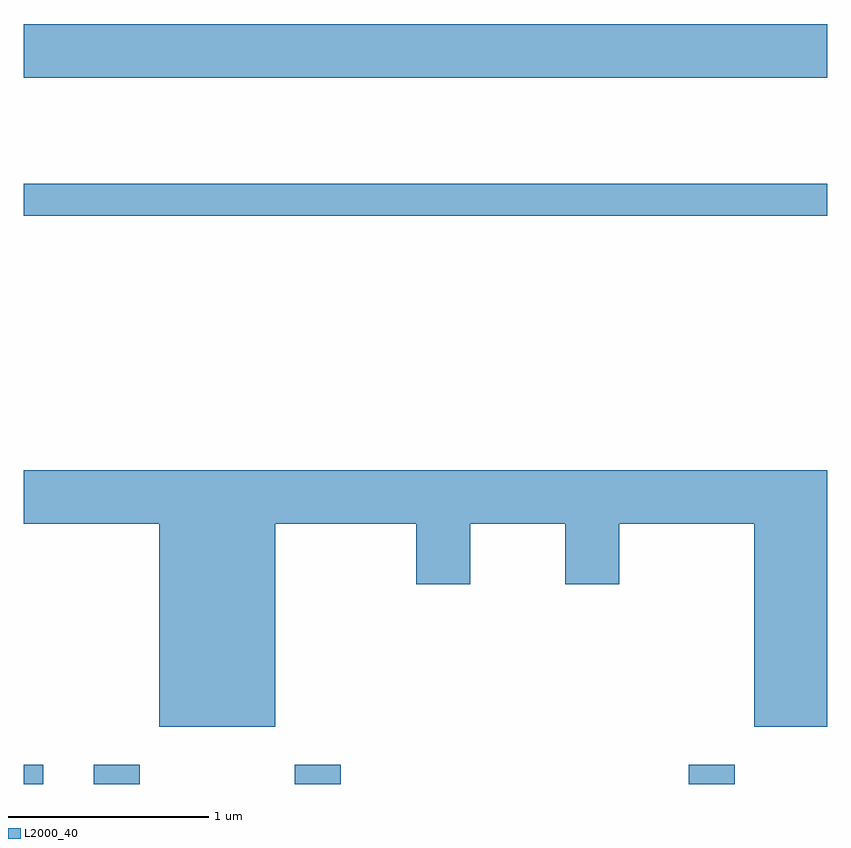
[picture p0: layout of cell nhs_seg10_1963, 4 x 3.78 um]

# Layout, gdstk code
import gdstk
lib = gdstk.Library(unit=1e-6, precision=1e-09)
def R(c, l, rs):  # rectangles x0, y0, x1, y1
    for r in rs: c.add(gdstk.rectangle(r[:2], r[2:], *l))
def P(c, l, *ps):  # polygons
    for p in ps: c.add(gdstk.Polygon(p, *l))
L2000_40 = (2000, 40)

nhs_seg10_1963 = lib.new_cell('nhs_seg10_1963')
R(nhs_seg10_1963, L2000_40, [(241.611,2212.522,241.709,2212.619), (241.961,2212.522,242.189,2212.619), (242.961,2212.522,243.189,2212.619), (244.921,2212.522,245.149,2212.619), (241.611,2215.351,245.611,2215.509), (241.611,2216.036,245.611,2216.304)])
P(nhs_seg10_1963, L2000_40, [(241.611,2213.816),(242.286,2213.816),(242.286,2212.806),(242.864,2212.806),(242.864,2213.816),(243.566,2213.816),(243.566,2213.516),(243.834,2213.516),(243.834,2213.816),(244.306,2213.816),(244.306,2213.516),(244.574,2213.516),(244.574,2213.816),(245.246,2213.816),(245.246,2212.806),(245.611,2212.806),(245.611,2214.084),(241.611,2214.084)])

lib.write_gds('nhs_seg10_1963.gds')
